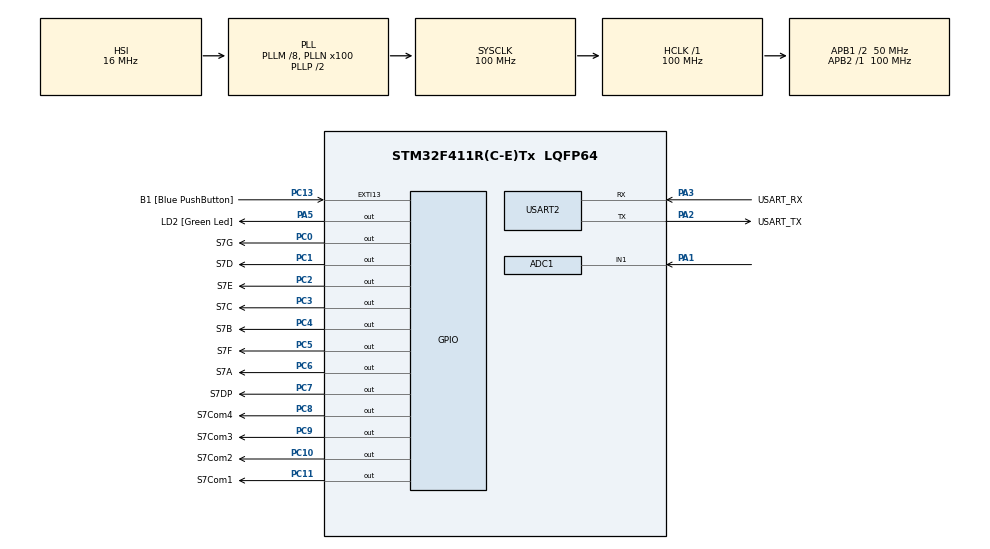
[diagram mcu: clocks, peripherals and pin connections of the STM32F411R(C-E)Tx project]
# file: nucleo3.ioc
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ADC1.Channel-2\#ChannelRegularConversion=ADC_CHANNEL_1
ADC1.ContinuousConvMode=ENABLE
ADC1.NbrOfConversionFlag=1
ADC1.Rank-2\#ChannelRegularConversion=1
ADC1.SamplingTime-2\#ChannelRegularConversion=ADC_SAMPLETIME_3CYCLES
ADC1.ScanConvMode=ENABLE
ADC1.master=1
Mcu.Family=STM32F4
Mcu.Name=STM32F411R(C-E)Tx
Mcu.Package=LQFP64
NVIC.PriorityGroup=NVIC_PRIORITYGROUP_0
NVIC.TIM1_UP_TIM10_IRQn=true\:0\:0\:false\:false\:true\:true\:true\:true
NVIC.TIM4_IRQn=true\:0\:0\:false\:false\:true\:true\:true\:true
PA1.Signal=ADCx_IN1
PA13.GPIO_Label=TMS
PA13.Mode=Serial_Wire
PA13.Signal=SYS_JTMS-SWDIO
PA14.GPIO_Label=TCK
PA14.Mode=Serial_Wire
PA14.Signal=SYS_JTCK-SWCLK
PA2.GPIO_Label=USART_TX
PA2.Mode=Asynchronous
PA2.Signal=USART2_TX
PA3.GPIO_Label=USART_RX
PA3.Mode=Asynchronous
PA3.Signal=USART2_RX
PA5.GPIO_Label=LD2 [Green Led]
PA5.Signal=GPIO_Output
PB3.GPIO_Label=SWO
PB3.Signal=SYS_JTDO-SWO
PC0.GPIO_Label=S7G
PC0.Signal=GPIO_Output
PC1.GPIO_Label=S7D
PC1.Signal=GPIO_Output
PC10.GPIO_Label=S7Com2
PC10.Signal=GPIO_Output
PC11.GPIO_Label=S7Com1
PC11.Signal=GPIO_Output
PC13-ANTI_TAMP.GPIO_Label=B1 [Blue PushButton]
PC13-ANTI_TAMP.GPIO_ModeDefaultEXTI=GPIO_MODE_IT_FALLING
PC13-ANTI_TAMP.Signal=GPXTI13
PC14-OSC32_IN.Mode=LSE-External-Oscillator
PC14-OSC32_IN.Signal=RCC_OSC32_IN
PC15-OSC32_OUT.Mode=LSE-External-Oscillator
PC15-OSC32_OUT.Signal=RCC_OSC32_OUT
PC2.GPIO_Label=S7E
PC2.Signal=GPIO_Output
PC3.GPIO_Label=S7C
PC3.Signal=GPIO_Output
PC4.GPIO_Label=S7B
PC4.Signal=GPIO_Output
PC5.GPIO_Label=S7F
PC5.Signal=GPIO_Output
PC6.GPIO_Label=S7A
PC6.Signal=GPIO_Output
PC7.GPIO_Label=S7DP
PC7.Signal=GPIO_Output
PC8.GPIO_Label=S7Com4
PC8.Signal=GPIO_Output
PC9.GPIO_Label=S7Com3
PC9.Signal=GPIO_Output
PH0\ -\ OSC_IN.Mode=HSE-External-Clock-Source
PH0\ -\ OSC_IN.Signal=RCC_OSC_IN
PH1\ -\ OSC_OUT.Mode=HSE-External-Clock-Source
PH1\ -\ OSC_OUT.Signal=RCC_OSC_OUT
ProjectManager.HeapSize=0x200
ProjectManager.StackSize=0x400
ProjectManager.TargetToolchain=STM32CubeIDE
RCC.48MHZClocksFreq_Value=50000000
RCC.AHBFreq_Value=100000000
RCC.APB1CLKDivider=RCC_HCLK_DIV2
RCC.APB1Freq_Value=50000000
RCC.APB1TimFreq_Value=100000000
RCC.APB2Freq_Value=100000000
RCC.APB2TimFreq_Value=100000000
RCC.CortexFreq_Value=100000000
RCC.FLatency-AdvancedSettings=FLASH_LATENCY_3
RCC.HCLKFreq_Value=100000000
RCC.HSE_VALUE=8000000
RCC.HSI_VALUE=16000000
RCC.PLLM=8
RCC.PLLN=100
RCC.SYSCLKFreq_VALUE=100000000
RCC.SYSCLKSource=RCC_SYSCLKSOURCE_PLLCLK
RCC.VCOOutputFreq_Value=200000000
SH.ADCx_IN1.0=ADC1_IN1,IN1
TIM1.CounterMode=TIM_COUNTERMODE_DOWN
TIM1.Period=1000
TIM1.Prescaler=100
TIM4.CounterMode=TIM_COUNTERMODE_DOWN
TIM4.Period=100
TIM4.Prescaler=100
USART2.VirtualMode=VM_ASYNC
VP_TIM1_VS_ClockSourceINT.Mode=Internal
VP_TIM4_VS_ClockSourceINT.Mode=Internal
board=NUCLEO-F411RE

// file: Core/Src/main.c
/* USER CODE BEGIN Header */
/**
  ******************************************************************************
  * @file           : main.c
  * @brief          : Main program body
  ******************************************************************************
  * @attention
  *
  * Copyright (c) 2022 STMicroelectronics.
  * All rights reserved.
  *
  * This software is licensed under terms that can be found in the LICENSE file
  * in the root directory of this software component.
  * If no LICENSE file comes with this software, it is provided AS-IS.
  *
  ******************************************************************************
  */
/* USER CODE END Header */
#include "main.h"

ADC_HandleTypeDef hadc1;

TIM_HandleTypeDef htim1;
TIM_HandleTypeDef htim4;

UART_HandleTypeDef huart2;

void SystemClock_Config(void);
static void MX_GPIO_Init(void);
static void MX_USART2_UART_Init(void);
static void MX_TIM1_Init(void);
static void MX_ADC1_Init(void);
static void MX_TIM4_Init(void);

/* USER CODE BEGIN 0 */
int TimerCnt = 0;
int ADCRes;
int TimerFlag = 0;
/* USER CODE END 0 */

int main(void)
{
  /* USER CODE BEGIN 1 */

	const int LUT_table[10][8] = {
					  {1, 1, 1, 1, 1, 1, 0, 0}, //0
					  {0, 1, 1, 0, 0, 0, 0, 0}, //1
					  {1, 1, 0, 1, 1, 0, 1, 0}, //2
					  {1, 1, 1, 1, 0, 0, 1, 0}, //3
					  {0, 1, 1, 0, 0, 1, 1, 0}, //4
					  {1, 0, 1, 1, 0, 1, 1, 0}, //5
					  {1, 0, 1, 1, 1, 1, 1, 0}, //6
					  {1, 1, 1, 0, 0, 0, 0, 0}, //7
					  {1, 1, 1, 1, 1, 1, 1, 0}, //8
					  {1, 1, 1, 1, 0, 1, 1, 0}  //9
			  };
			  void display_number(int segment, int number, int delay) {
			  	switch(segment){
			  			  case 0:
			  					HAL_GPIO_WritePin(GPIOC, S7Com1_Pin, GPIO_PIN_RESET);
			  					HAL_GPIO_WritePin(GPIOC, S7Com2_Pin, GPIO_PIN_SET);
			  					HAL_GPIO_WritePin(GPIOC, S7Com3_Pin, GPIO_PIN_SET);
			  					HAL_GPIO_WritePin(GPIOC, S7Com4_Pin, GPIO_PIN_SET);
			  					break;
			  			  case 1:
			  				  HAL_GPIO_WritePin(GPIOC, S7Com1_Pin, GPIO_PIN_SET);
			  				  HAL_GPIO_WritePin(GPIOC, S7Com2_Pin, GPIO_PIN_RESET);
			  				  HAL_GPIO_WritePin(GPIOC, S7Com3_Pin, GPIO_PIN_SET);
			  				  HAL_GPIO_WritePin(GPIOC, S7Com4_Pin, GPIO_PIN_SET);
			  					break;
			  			  case 2:
			  				  HAL_GPIO_WritePin(GPIOC, S7Com1_Pin, GPIO_PIN_SET);
			  				  HAL_GPIO_WritePin(GPIOC, S7Com2_Pin, GPIO_PIN_SET);
			  				  HAL_GPIO_WritePin(GPIOC, S7Com3_Pin, GPIO_PIN_RESET);
			  				  HAL_GPIO_WritePin(GPIOC, S7Com4_Pin, GPIO_PIN_SET);
			  					break;
			  			  case 3:
			  				  HAL_GPIO_WritePin(GPIOC, S7Com1_Pin, GPIO_PIN_SET);
			  				  HAL_GPIO_WritePin(GPIOC, S7Com2_Pin, GPIO_PIN_SET);
			  				  HAL_GPIO_WritePin(GPIOC, S7Com3_Pin, GPIO_PIN_SET);
			  				  HAL_GPIO_WritePin(GPIOC, S7Com4_Pin, GPIO_PIN_RESET);
			  					break;
			  	}
			  	HAL_GPIO_WritePin(GPIOC, S7A_Pin, LUT_table[number][0]);
				HAL_GPIO_WritePin(GPIOC, S7B_Pin, LUT_table[number][1]);
				HAL_GPIO_WritePin(GPIOC, S7C_Pin, LUT_table[number][2]);
				HAL_GPIO_WritePin(GPIOC, S7D_Pin, LUT_table[number][3]);
				HAL_GPIO_WritePin(GPIOC, S7E_Pin, LUT_table[number][4]);
				HAL_GPIO_WritePin(GPIOC, S7F_Pin, LUT_table[number][5]);
				HAL_GPIO_WritePin(GPIOC, S7G_Pin, LUT_table[number][6]);
				HAL_GPIO_WritePin(GPIOC, S7DP_Pin, LUT_table[number][7]);
				HAL_Delay(delay);
			  }

  /* USER CODE END 1 */

  /* MCU Configuration--------------------------------------------------------*/

  /* Reset of all peripherals, Initializes the Flash interface and the Systick. */
  HAL_Init();

  /* Configure the system clock */
  SystemClock_Config();

  /* Initialize all configured peripherals */
  MX_GPIO_Init();
  MX_USART2_UART_Init();
  MX_TIM1_Init();
  MX_ADC1_Init();
  MX_TIM4_Init();
  /* USER CODE BEGIN 2 */

  HAL_TIM_Base_Start_IT(&htim1);
  HAL_TIM_Base_Start_IT(&htim4);
  /* USER CODE END 2 */

  /* Infinite loop */
  while (1)
  {
	  HAL_ADC_Start(&hadc1);
	  HAL_ADC_PollForConversion(&hadc1, HAL_MAX_DELAY);
	  ADCRes = HAL_ADC_GetValue(&hadc1); // 0-4095 == 0-3.3V
	  ADCRes = (uint16_t)(3.3 * (double)ADCRes / 4.095); // [mV]
	  //HAL_Delay(100);

	  if (TimerFlag == 1) {
	  display_number(0, (ADCRes%10000 - ADCRes%1000 - ADCRes%100 - ADCRes%10)/1000, 1);
	  display_number(1, (ADCRes%1000 - ADCRes%100 - ADCRes%10)/100, 1);
	  display_number(2, (ADCRes%100 - ADCRes%10)/10, 1);
	  display_number(3, ADCRes%10, 1);
	  TimerFlag = 0;
	  }
  }
}

void SystemClock_Config(void)
{
  RCC_OscInitTypeDef RCC_OscInitStruct = {0};
  RCC_ClkInitTypeDef RCC_ClkInitStruct = {0};

  /** Configure the main internal regulator output voltage
  */
  __HAL_RCC_PWR_CLK_ENABLE();
  __HAL_PWR_VOLTAGESCALING_CONFIG(PWR_REGULATOR_VOLTAGE_SCALE1);

  /** Initializes the RCC Oscillators according to the specified parameters
  * in the RCC_OscInitTypeDef structure.
  */
  RCC_OscInitStruct.OscillatorType = RCC_OSCILLATORTYPE_HSI;
  RCC_OscInitStruct.HSIState = RCC_HSI_ON;
  RCC_OscInitStruct.HSICalibrationValue = RCC_HSICALIBRATION_DEFAULT;
  RCC_OscInitStruct.PLL.PLLState = RCC_PLL_ON;
  RCC_OscInitStruct.PLL.PLLSource = RCC_PLLSOURCE_HSI;
  RCC_OscInitStruct.PLL.PLLM = 8;
  RCC_OscInitStruct.PLL.PLLN = 100;
  RCC_OscInitStruct.PLL.PLLP = RCC_PLLP_DIV2;
  RCC_OscInitStruct.PLL.PLLQ = 4;
  if (HAL_RCC_OscConfig(&RCC_OscInitStruct) != HAL_OK)
  {
    Error_Handler();
  }

  /** Initializes the CPU, AHB and APB buses clocks
  */
  RCC_ClkInitStruct.ClockType = RCC_CLOCKTYPE_HCLK|RCC_CLOCKTYPE_SYSCLK
                              |RCC_CLOCKTYPE_PCLK1|RCC_CLOCKTYPE_PCLK2;
  RCC_ClkInitStruct.SYSCLKSource = RCC_SYSCLKSOURCE_PLLCLK;
  RCC_ClkInitStruct.AHBCLKDivider = RCC_SYSCLK_DIV1;
  RCC_ClkInitStruct.APB1CLKDivider = RCC_HCLK_DIV2;
  RCC_ClkInitStruct.APB2CLKDivider = RCC_HCLK_DIV1;

  if (HAL_RCC_ClockConfig(&RCC_ClkInitStruct, FLASH_LATENCY_3) != HAL_OK)
  {
    Error_Handler();
  }
}

static void MX_ADC1_Init(void)
{

  ADC_ChannelConfTypeDef sConfig = {0};

  /** Configure the global features of the ADC (Clock, Resolution, Data Alignment and number of conversion)
  */
  hadc1.Instance = ADC1;
  hadc1.Init.ClockPrescaler = ADC_CLOCK_SYNC_PCLK_DIV4;
  hadc1.Init.Resolution = ADC_RESOLUTION_12B;
  hadc1.Init.ScanConvMode = ENABLE;
  hadc1.Init.ContinuousConvMode = ENABLE;
  hadc1.Init.DiscontinuousConvMode = DISABLE;
  hadc1.Init.ExternalTrigConvEdge = ADC_EXTERNALTRIGCONVEDGE_NONE;
  hadc1.Init.ExternalTrigConv = ADC_SOFTWARE_START;
  hadc1.Init.DataAlign = ADC_DATAALIGN_RIGHT;
  hadc1.Init.NbrOfConversion = 1;
  hadc1.Init.DMAContinuousRequests = DISABLE;
  hadc1.Init.EOCSelection = ADC_EOC_SINGLE_CONV;
  if (HAL_ADC_Init(&hadc1) != HAL_OK)
  {
    Error_Handler();
  }

  /** Configure for the selected ADC regular channel its corresponding rank in the sequencer and its sample time.
  */
  sConfig.Channel = ADC_CHANNEL_1;
  sConfig.Rank = 1;
  sConfig.SamplingTime = ADC_SAMPLETIME_3CYCLES;
  if (HAL_ADC_ConfigChannel(&hadc1, &sConfig) != HAL_OK)
  {
    Error_Handler();
  }

}

static void MX_TIM1_Init(void)
{

  TIM_ClockConfigTypeDef sClockSourceConfig = {0};
  TIM_MasterConfigTypeDef sMasterConfig = {0};

  htim1.Instance = TIM1;
  htim1.Init.Prescaler = 100;
  htim1.Init.CounterMode = TIM_COUNTERMODE_DOWN;
  htim1.Init.Period = 1000;
  htim1.Init.ClockDivision = TIM_CLOCKDIVISION_DIV1;
  htim1.Init.RepetitionCounter = 0;
  htim1.Init.AutoReloadPreload = TIM_AUTORELOAD_PRELOAD_DISABLE;
  if (HAL_TIM_Base_Init(&htim1) != HAL_OK)
  {
    Error_Handler();
  }
  sClockSourceConfig.ClockSource = TIM_CLOCKSOURCE_INTERNAL;
  if (HAL_TIM_ConfigClockSource(&htim1, &sClockSourceConfig) != HAL_OK)
  {
    Error_Handler();
  }
  sMasterConfig.MasterOutputTrigger = TIM_TRGO_RESET;
  sMasterConfig.MasterSlaveMode = TIM_MASTERSLAVEMODE_DISABLE;
  if (HAL_TIMEx_MasterConfigSynchronization(&htim1, &sMasterConfig) != HAL_OK)
  {
    Error_Handler();
  }

}

static void MX_TIM4_Init(void)
{

  TIM_ClockConfigTypeDef sClockSourceConfig = {0};
  TIM_MasterConfigTypeDef sMasterConfig = {0};

  htim4.Instance = TIM4;
  htim4.Init.Prescaler = 100;
  htim4.Init.CounterMode = TIM_COUNTERMODE_DOWN;
  htim4.Init.Period = 100;
  htim4.Init.ClockDivision = TIM_CLOCKDIVISION_DIV1;
  htim4.Init.AutoReloadPreload = TIM_AUTORELOAD_PRELOAD_DISABLE;
  if (HAL_TIM_Base_Init(&htim4) != HAL_OK)
  {
    Error_Handler();
  }
  sClockSourceConfig.ClockSource = TIM_CLOCKSOURCE_INTERNAL;
  if (HAL_TIM_ConfigClockSource(&htim4, &sClockSourceConfig) != HAL_OK)
  {
    Error_Handler();
  }
  sMasterConfig.MasterOutputTrigger = TIM_TRGO_RESET;
  sMasterConfig.MasterSlaveMode = TIM_MASTERSLAVEMODE_DISABLE;
  if (HAL_TIMEx_MasterConfigSynchronization(&htim4, &sMasterConfig) != HAL_OK)
  {
    Error_Handler();
  }

}

static void MX_USART2_UART_Init(void)
{

  huart2.Instance = USART2;
  huart2.Init.BaudRate = 115200;
  huart2.Init.WordLength = UART_WORDLENGTH_8B;
  huart2.Init.StopBits = UART_STOPBITS_1;
  huart2.Init.Parity = UART_PARITY_NONE;
  huart2.Init.Mode = UART_MODE_TX_RX;
  huart2.Init.HwFlowCtl = UART_HWCONTROL_NONE;
  huart2.Init.OverSampling = UART_OVERSAMPLING_16;
  if (HAL_UART_Init(&huart2) != HAL_OK)
  {
    Error_Handler();
  }

}

static void MX_GPIO_Init(void)
{
  GPIO_InitTypeDef GPIO_InitStruct = {0};

  /* GPIO Ports Clock Enable */
  __HAL_RCC_GPIOC_CLK_ENABLE();
  __HAL_RCC_GPIOH_CLK_ENABLE();
  __HAL_RCC_GPIOA_CLK_ENABLE();
  __HAL_RCC_GPIOB_CLK_ENABLE();

  /*Configure GPIO pin Output Level */
  HAL_GPIO_WritePin(GPIOC, S7G_Pin|S7D_Pin|S7E_Pin|S7C_Pin
                          |S7B_Pin|S7F_Pin|S7A_Pin|S7DP_Pin
                          |S7Com4_Pin|S7Com3_Pin|S7Com2_Pin|S7Com1_Pin, GPIO_PIN_RESET);

  /*Configure GPIO pin Output Level */
  HAL_GPIO_WritePin(LD2_GPIO_Port, LD2_Pin, GPIO_PIN_RESET);

  /*Configure GPIO pin : B1_Pin */
  GPIO_InitStruct.Pin = B1_Pin;
  GPIO_InitStruct.Mode = GPIO_MODE_IT_FALLING;
  GPIO_InitStruct.Pull = GPIO_NOPULL;
  HAL_GPIO_Init(B1_GPIO_Port, &GPIO_InitStruct);

  /*Configure GPIO pins : S7G_Pin S7D_Pin S7E_Pin S7C_Pin
                           S7B_Pin S7F_Pin S7A_Pin S7DP_Pin
                           S7Com4_Pin S7Com3_Pin S7Com2_Pin S7Com1_Pin */
  GPIO_InitStruct.Pin = S7G_Pin|S7D_Pin|S7E_Pin|S7C_Pin
                          |S7B_Pin|S7F_Pin|S7A_Pin|S7DP_Pin
                          |S7Com4_Pin|S7Com3_Pin|S7Com2_Pin|S7Com1_Pin;
  GPIO_InitStruct.Mode = GPIO_MODE_OUTPUT_PP;
  GPIO_InitStruct.Pull = GPIO_NOPULL;
  GPIO_InitStruct.Speed = GPIO_SPEED_FREQ_LOW;
  HAL_GPIO_Init(GPIOC, &GPIO_InitStruct);

  /*Configure GPIO pin : LD2_Pin */
  GPIO_InitStruct.Pin = LD2_Pin;
  GPIO_InitStruct.Mode = GPIO_MODE_OUTPUT_PP;
  GPIO_InitStruct.Pull = GPIO_NOPULL;
  GPIO_InitStruct.Speed = GPIO_SPEED_FREQ_LOW;
  HAL_GPIO_Init(LD2_GPIO_Port, &GPIO_InitStruct);

}

/* USER CODE BEGIN 4 */
void HAL_TIM_PeriodElapsedCallback(TIM_HandleTypeDef *htim) {
	  if (htim -> Instance== TIM1) TimerCnt++;
	  if (htim -> Instance == TIM4) TimerFlag = 1;
	  }
/* USER CODE END 4 */

void Error_Handler(void)
{
  __disable_irq();
  while (1)
  {
  }
}
